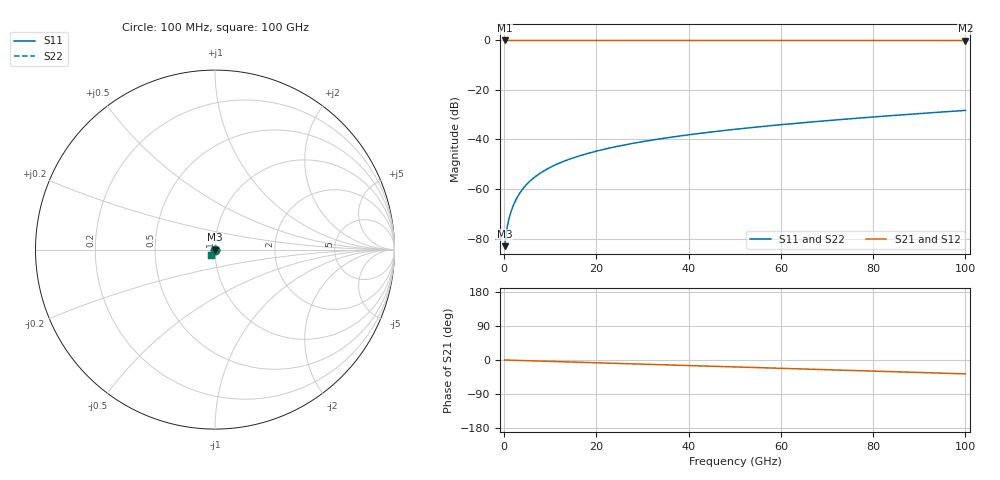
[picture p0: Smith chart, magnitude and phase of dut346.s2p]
! Touchstone file exported from HFSS 2026.1.0
!  File:  C:/ffzhzh/LocalFiles/Ansys_Project_Files/temp_train_TSV_346_1783509926_41296.aedt
!  Generated:  07:26:36 PM Jul  8, 2026
!  Design:  TSV
!  Project:  temp_train_TSV_346_1783509926_41296
! Variables:
!  h_bsmrdl = 2um
!  h_ox = 20um
!  h_rdl = 5um
!  h_sub = 70.1um
!  h_tmrdl = 5um
!  h_tsv = 70.1um
!  h_via = 3um
!  l_bsmrdl = 300um
!  l_sub = 428.46um
!  l_tmrdl = 200um
!  m_sub = 200um
!  pitch = 53.98um
!  r_tsv = 14.23um
!  s_tmrdl = 10um
!  w_bsmrdl = 18um
!  w_sub = 500um
!  w_tmrdl = 12um
!  x_tsv_center1 = 206um
!  x_tsv_center2 = 524um
!  x_tsv_center3 = 736um
!  x_tsv_center4 = 1054um
!  x_tsv_center5 = 1266um
!  x_tsv_center6 = 1584um
# GHz S MA R 50.000000
! Terminal data exported
! Port[1] = TSV1_1_T1
! Port[2] = TSV1_1_T2
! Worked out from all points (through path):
!   1000 points, 100 MHz to 100 GHz, reference 50 ohm
!   highest |S21| = 0.00 dB at 100 MHz (marker M1); lowest = 0.0 dB at 100 GHz (marker M2)
!   group delay of S21, straight-line fit = 1.01 ps
!   lowest |S11| = -83.1 dB at 100 MHz (marker M3), VSWR 1.00, Z = 50 + j0.000759 ohm
!   |S11| at or under -10 dB: start of sweep to end of sweep
!   |S22| runs from -83.1 to -28.3 dB; largest |S21 - S12| = 2.1e-15
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0.1  7e-05 6.2  0.9999 -0.0  0.9999 -0.0  7e-05 6.2
! Gamma 0 0 0 0
! Port Impedance 50 0 50 0
0.5  0.0001393 -7.5  0.9999 -0.2  0.9999 -0.2  0.0001393 -7.5
1  0.0002404 -32.3  0.9998 -0.4  0.9998 -0.4  0.0002404 -32.3
1.3  0.0003048 -41.4  0.9998 -0.5  0.9998 -0.5  0.0003048 -41.4
1.7  0.0003955 -49.5  0.9997 -0.6  0.9997 -0.6  0.0003955 -49.5
2.1  0.0004914 -54.9  0.9997 -0.8  0.9997 -0.8  0.0004914 -54.9
2.7  0.000643 -60.4  0.9997 -1.0  0.9997 -1.0  0.000643 -60.4
3.3  0.0008017 -64.3  0.9996 -1.2  0.9996 -1.2  0.0008017 -64.3
4.1  0.001021 -68.0  0.9996 -1.5  0.9996 -1.5  0.001021 -68.0
4.9  0.001245 -70.9  0.9996 -1.8  0.9996 -1.8  0.001245 -70.9
5.9  0.00153 -73.6  0.9995 -2.2  0.9995 -2.2  0.00153 -73.6
7  0.001847 -75.9  0.9995 -2.6  0.9995 -2.6  0.001847 -75.9
9.7  0.002643 -79.8  0.9994 -3.5  0.9994 -3.5  0.002643 -79.8
12.9  0.003611 -83.0  0.9993 -4.7  0.9993 -4.7  0.003611 -83.0
16.8  0.004813 -86.1  0.9991 -6.1  0.9991 -6.1  0.004813 -86.1
24.1  0.007119 -90.7  0.999 -8.8  0.999 -8.8  0.00712 -90.7
33.4  0.01018 -95.6  0.9988 -12.2  0.9988 -12.2  0.01018 -95.6
41.1  0.01282 -99.2  0.9986 -15.0  0.9986 -15.0  0.01282 -99.2
50.1  0.01608 -103.2  0.9984 -18.2  0.9984 -18.2  0.01608 -103.2
66.7  0.02261 -110.4  0.998 -24.3  0.998 -24.3  0.02261 -110.3
83.4  0.03008 -117.3  0.9975 -30.5  0.9975 -30.5  0.03008 -117.3
100  0.03868 -124.3  0.9968 -36.6  0.9968 -36.6  0.03868 -124.2
